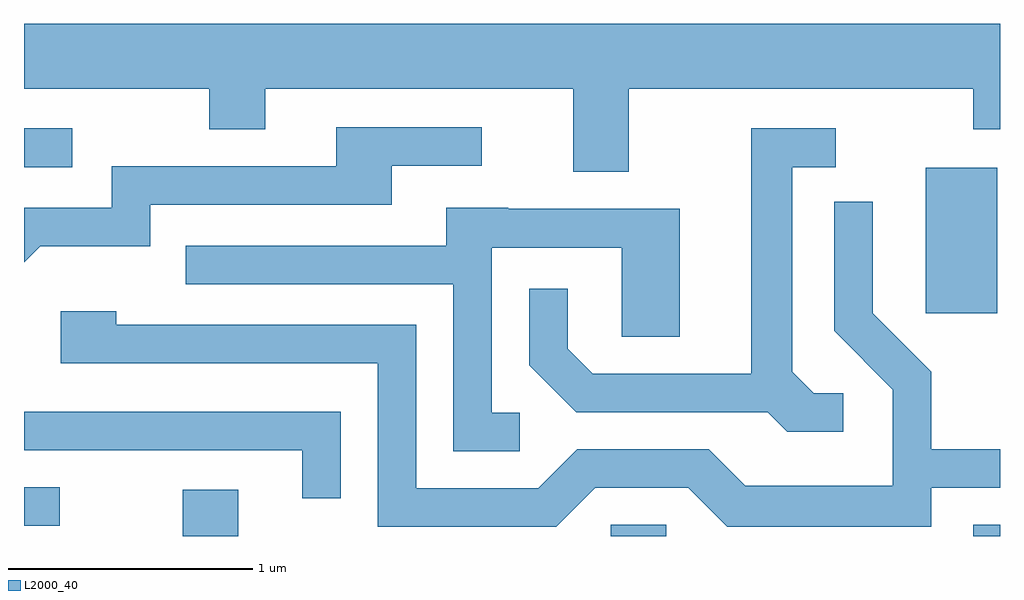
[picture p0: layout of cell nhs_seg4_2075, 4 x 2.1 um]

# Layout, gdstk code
import gdstk
lib = gdstk.Library(unit=1e-6, precision=1e-09)
def R(c, l, rs):  # rectangles x0, y0, x1, y1
    for r in rs: c.add(gdstk.rectangle(r[:2], r[2:], *l))
def P(c, l, *ps):  # polygons
    for p in ps: c.add(gdstk.Polygon(p, *l))
L2000_40 = (2000, 40)

nhs_seg4_2075 = lib.new_cell('nhs_seg4_2075')
R(nhs_seg4_2075, L2000_40, [(246.261,1323.982,246.489,1324.174), (248.016,1323.982,248.244,1324.029), (249.501,1323.982,249.611,1324.029), (245.611,1324.026,245.758,1324.184), (249.306,1324.896,249.599,1325.494), (245.611,1325.496,245.808,1325.654)])
P(nhs_seg4_2075, L2000_40, [(248.089,1325.816),(249.501,1325.816),(249.501,1325.651),(249.611,1325.651),(249.611,1326.084),(245.611,1326.084),(245.611,1325.816),(246.371,1325.816),(246.371,1325.651),(246.599,1325.651),(246.599,1325.816),(247.861,1325.816),(247.861,1325.476),(248.089,1325.476)],
  [(245.677,1325.171),(246.129,1325.171),(246.129,1325.341),(247.119,1325.341),(247.119,1325.501),(247.488,1325.501),(247.488,1325.659),(246.891,1325.659),(246.891,1325.499),(245.971,1325.499),(245.971,1325.329),(245.611,1325.329),(245.611,1325.106)],
  [(248.968,1324.569),(248.847,1324.569),(248.759,1324.657),(248.759,1325.496),(248.938,1325.496),(248.938,1325.654),(248.591,1325.654),(248.591,1324.649),(247.942,1324.649),(247.839,1324.752),(247.839,1324.998),(247.681,1324.998),(247.681,1324.684),(247.874,1324.491),(248.659,1324.491),(248.739,1324.411),(248.968,1324.411)],
  [(247.952,1324.181),(248.334,1324.181),(248.494,1324.021),(249.329,1324.021),(249.329,1324.181),(249.611,1324.181),(249.611,1324.339),(249.329,1324.339),(249.329,1324.657),(249.089,1324.897),(249.089,1325.353),(248.931,1325.353),(248.931,1324.824),(249.171,1324.584),(249.171,1324.189),(248.567,1324.189),(248.417,1324.339),(247.879,1324.339),(247.719,1324.179),(247.219,1324.179),(247.219,1324.849),(245.989,1324.849),(245.989,1324.904),(245.761,1324.904),(245.761,1324.691),(247.061,1324.691),(247.061,1324.021),(247.792,1324.021)],
  [(247.643,1324.489),(247.529,1324.489),(247.529,1325.166),(248.061,1325.166),(248.061,1324.801),(248.299,1324.801),(248.299,1325.324),(247.595,1325.324),(247.595,1325.329),(247.341,1325.329),(247.341,1325.174),(246.273,1325.174),(246.273,1325.016),(247.371,1325.016),(247.371,1324.331),(247.643,1324.331)],
  [(246.909,1324.494),(245.611,1324.494),(245.611,1324.336),(246.751,1324.336),(246.751,1324.138),(246.909,1324.138)])

lib.write_gds('nhs_seg4_2075.gds')
